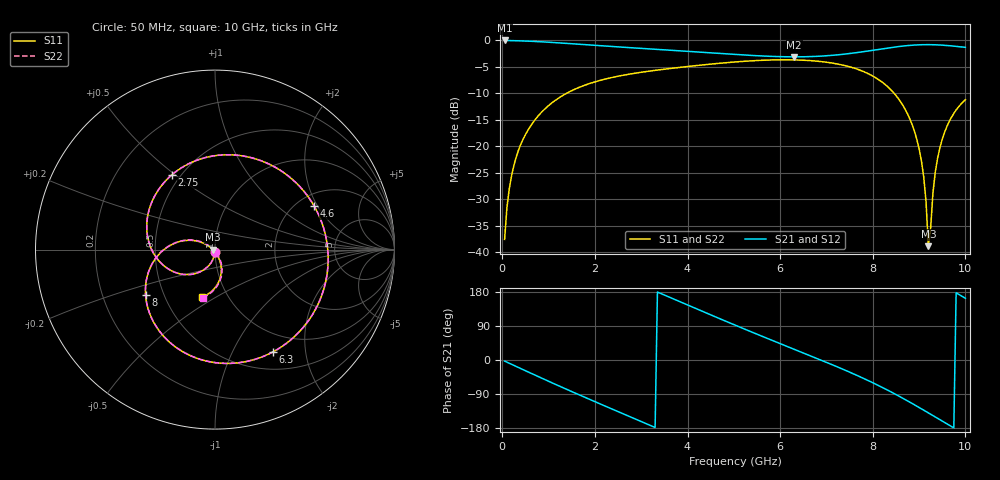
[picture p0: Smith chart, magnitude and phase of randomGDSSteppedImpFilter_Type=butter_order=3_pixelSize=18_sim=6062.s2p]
! freq	dB(S11)	phase(S11)	dB(S12)	phase(S12)
!  dB(S21)	phase(S21)	dB(S22)	phase(S22)
!S-par simulation data
#  GHz  S  DB  R 50
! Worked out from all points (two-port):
!   200 points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, 50 MHz to 10 GHz, reference 50 ohm
!   highest |S21| = 0.00 dB at 50 MHz (marker M1); lowest = -3.1 dB at 6.3 GHz (marker M2)
!   |S21| within 3 dB of the highest: start of sweep to 5.786 GHz; 6.794 GHz to end of sweep
!   lowest |S11| = -38.9 dB at 9.2 GHz (marker M3), VSWR 1.02, Z = 48.9 - j0.1 ohm
!   |S11| at or under -10 dB: start of sweep to 1.386 GHz; 8.462 GHz to end of sweep
!   |S22| runs from -40.9 to -3.7 dB; largest |S21 - S12| = 0
!   S11 on the Smith chart (normalised r, x): 50 MHz: 1.00, -0.03; 2.75 GHz: 0.45, +0.49; 4.6 GHz: 2.45, +1.87; 6.3 GHz: 0.73, -1.45; 8 GHz: 0.40, -0.25; 10 GHz: 0.76, -0.43
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0.05  -37.59 -92.6  -0.00 -2.9  -0.00 -2.9  -37.59 -92.6
0.1  -31.57 -95.6  -0.01 -5.7  -0.01 -5.7  -31.57 -95.6
0.2  -25.56 -101.4  -0.03 -11.4  -0.03 -11.4  -25.56 -101.4
0.45  -18.64 -116.4  -0.10 -25.5  -0.10 -25.5  -18.63 -116.4
1.1  -11.60 -152.3  -0.39 -61.6  -0.39 -61.6  -11.60 -152.2
1.75  -8.56 172.6  -0.78 -96.7  -0.78 -96.7  -8.56 172.6
2.75  -6.36 119.9  -1.36 -149.3  -1.36 -149.3  -6.36 120.0
3.4  -5.54 86.0  -1.71 176.6  -1.71 176.6  -5.54 86.0
4.6  -4.39 23.7  -2.39 114.0  -2.39 114.0  -4.39 23.8
5.05  -4.05 0.9  -2.65 90.8  -2.65 90.8  -4.05 1.0
6.3  -3.67 -60.5  -3.10 28.5  -3.10 28.5  -3.67 -60.4
6.7  -3.84 -79.9  -3.04 8.8  -3.04 8.8  -3.84 -79.7
7.4  -4.75 -114.7  -2.58 -26.7  -2.58 -26.7  -4.75 -114.6
8  -6.73 -147.1  -1.86 -60.0  -1.86 -60.0  -6.73 -147.1
8.35  -8.97 -167.8  -1.40 -81.3  -1.40 -81.3  -8.98 -167.9
8.75  -13.87 167.3  -0.97 -107.8  -0.97 -107.8  -13.88 166.7
9  -20.45 152.9  -0.83 -125.2  -0.83 -125.2  -20.49 151.4
9.15  -30.42 154.1  -0.80 -135.9  -0.80 -135.9  -30.71 148.7
9.2  -38.87 -174.8  -0.80 -139.5  -0.80 -139.5  -40.92 174.4
9.3  -28.73 -67.6  -0.81 -146.7  -0.81 -146.7  -28.82 -62.4
9.45  -20.25 -69.5  -0.86 -157.5  -0.86 -157.5  -20.25 -67.3
10  -11.20 -105.4  -1.31 162.9  -1.31 162.9  -11.19 -104.4
